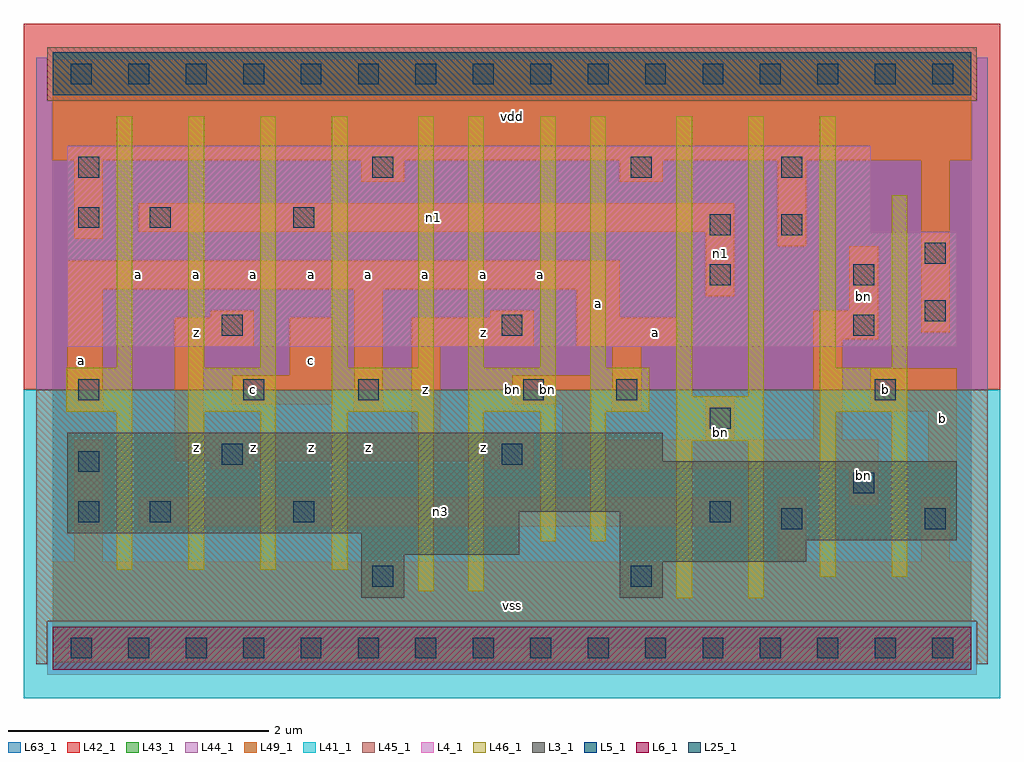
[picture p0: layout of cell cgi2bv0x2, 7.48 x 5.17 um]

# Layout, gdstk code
import gdstk
lib = gdstk.Library(unit=1e-6, precision=1e-09)
def R(c, l, rs):  # rectangles x0, y0, x1, y1
    for r in rs: c.add(gdstk.rectangle(r[:2], r[2:], *l))
def A(c, l, x, y, w, h, nx, ny, dx, dy):  # array of equal rectangles
    R(c, l, [(x+i*dx, y+j*dy, x+i*dx+w, y+j*dy+h) for i in range(nx) for j in range(ny)])
L3_1 = (3, 1)
L4_1 = (4, 1)
L5_1 = (5, 1)
L6_1 = (6, 1)
L25_1 = (25, 1)
L41_1 = (41, 1)
L42_1 = (42, 1)
L43_1 = (43, 1)
L44_1 = (44, 1)
L45_1 = (45, 1)
L46_1 = (46, 1)
L49_1 = (49, 1)
L63_1 = (63, 1)

cgi2bv0x2 = lib.new_cell('cgi2bv0x2')
R(cgi2bv0x2, L3_1, [(2.365,0.385,2.695,0.715), (4.345,0.385,4.675,0.66), (4.345,0.66,5.775,0.825), (2.365,0.715,3.575,0.88), (4.345,0.825,6.93,1.045), (0.11,0.88,3.575,1.045), (0.11,1.045,6.93,1.43), (0.11,1.43,4.675,1.65)])
R(cgi2bv0x2, L4_1, [(0.11,2.31,6.93,3.19), (0.11,3.19,6.27,3.85)])
R(cgi2bv0x2, L5_1, [(0,4.235,7.04,4.565)])
R(cgi2bv0x2, L6_1, [(0,-0.165,7.04,0.165)])
A(cgi2bv0x2, L25_1, 0.14, -0.08, 0.16, 0.16, 16, 2, 0.44, 4.4)
R(cgi2bv0x2, L25_1, [(2.45,0.47,2.61,0.63), (4.43,0.47,4.59,0.63), (5.585,0.91,5.745,1.07), (6.685,0.91,6.845,1.07), (0.195,0.965,0.355,1.125), (0.745,0.965,0.905,1.125), (1.845,0.965,2.005,1.125), (5.035,0.965,5.195,1.125), (6.135,1.185,6.295,1.345), (0.195,1.35,0.355,1.51), (1.295,1.405,1.455,1.565), (3.44,1.405,3.6,1.565), (5.035,1.68,5.195,1.84), (0.195,1.9,0.355,2.06), (1.46,1.9,1.62,2.06), (2.34,1.9,2.5,2.06), (3.605,1.9,3.765,2.06), (4.32,1.9,4.48,2.06), (6.3,1.9,6.46,2.06), (1.295,2.395,1.455,2.555), (3.44,2.395,3.6,2.555), (6.135,2.395,6.295,2.555), (6.685,2.505,6.845,2.665), (5.035,2.78,5.195,2.94), (6.135,2.78,6.295,2.94), (6.685,2.945,6.845,3.105), (5.035,3.165,5.195,3.325), (5.585,3.165,5.745,3.325), (0.195,3.22,0.355,3.38), (0.745,3.22,0.905,3.38), (1.845,3.22,2.005,3.38), (0.195,3.605,0.355,3.765), (2.45,3.605,2.61,3.765), (4.43,3.605,4.59,3.765), (5.585,3.605,5.745,3.765)])
R(cgi2bv0x2, L41_1, [(-0.22,-0.385,7.26,1.98)])
R(cgi2bv0x2, L42_1, [(-0.22,1.98,7.26,4.785)])
R(cgi2bv0x2, L43_1, [(0,-0.165,7.04,0.165), (2.365,0.385,2.695,0.715), (4.345,0.385,4.675,0.66), (4.345,0.66,5.775,0.825), (2.365,0.715,3.575,0.88), (4.345,0.825,6.93,1.045), (0.11,0.88,3.575,1.045), (0.11,1.045,6.93,1.43), (0.11,1.43,4.675,1.65), (0.11,2.31,6.93,3.19), (0.11,3.19,6.27,3.85), (0,4.235,7.04,4.565)])
R(cgi2bv0x2, L44_1, [(-0.04,-0.205,7.08,0.205), (-0.125,1.98,7.165,4.195), (-0.125,4.195,-0.04,4.525), (7.08,4.195,7.165,4.525)])
R(cgi2bv0x2, L45_1, [(-0.125,-0.125,-0.04,0.205), (7.08,-0.125,7.165,0.205), (-0.125,0.205,7.165,1.98), (-0.04,4.195,7.08,4.605)])
A(cgi2bv0x2, L46_1, 0.49, 0.6, 0.12, 1.21, 4, 1, 0.55, 0)
A(cgi2bv0x2, L46_1, 0.49, 2.15, 0.12, 1.925, 4, 1, 0.55, 0)
R(cgi2bv0x2, L46_1, [(4.78,0.38,4.9,1.59), (5.33,0.38,5.45,1.59), (2.8,0.435,2.92,1.81), (3.185,0.435,3.305,1.81), (5.88,0.545,6,1.81), (6.43,0.545,6.55,1.81), (3.735,0.82,3.855,1.81), (4.12,0.82,4.24,1.81), (4.78,1.59,5.45,1.93), (0.105,1.81,0.61,2.15), (1.04,1.81,1.71,2.15), (2.14,1.81,2.92,2.15), (3.185,1.81,3.855,2.15), (4.12,1.81,4.57,2.15), (5.88,1.81,6.55,2.15), (4.78,1.93,4.9,4.075), (5.33,1.93,5.45,4.075), (2.8,2.15,2.92,4.075), (3.185,2.15,3.305,4.075), (3.735,2.15,3.855,4.075), (4.12,2.15,4.24,4.075), (5.88,2.15,6,4.075), (6.43,2.15,6.55,3.47)])
R(cgi2bv0x2, L49_1, [(0,-0.11,7.04,0.66), (0.165,0.66,0.385,1.595), (5.555,0.66,5.775,1.155), (6.655,0.66,6.875,1.155), (0.66,0.935,5.28,1.155), (6.105,1.1,6.325,1.375), (1.21,1.375,1.54,1.43), (3.355,1.375,3.685,1.43), (3.905,1.375,6.325,1.595), (6.71,1.375,6.93,1.815), (0.935,1.43,3.685,1.65), (3.905,1.595,4.125,1.87), (5.005,1.595,5.225,1.925), (5.83,1.595,6.05,2.365), (0.935,1.65,1.155,2.31), (2.75,1.65,2.97,2.31), (0.11,1.815,0.385,2.75), (2.31,1.815,2.53,2.75), (4.29,1.815,4.51,2.31), (6.27,1.815,6.93,2.145), (1.375,1.87,2.145,2.09), (3.52,1.87,4.125,2.09), (1.815,2.09,2.145,2.53), (0.935,2.31,1.54,2.53), (2.75,2.31,3.685,2.53), (4.015,2.31,4.785,2.53), (5.83,2.365,6.325,2.585), (6.655,2.42,6.875,3.74), (1.21,2.53,1.54,2.585), (3.355,2.53,3.685,2.585), (4.015,2.53,4.345,2.75), (6.105,2.585,6.325,3.08), (5.005,2.695,5.225,3.19), (0.11,2.75,4.345,2.97), (5.555,3.08,5.775,3.74), (0.165,3.135,0.385,3.74), (0.66,3.19,5.225,3.41), (2.365,3.575,2.695,3.74), (4.345,3.575,4.675,3.74), (0,3.74,7.04,4.51)])
R(cgi2bv0x2, L63_1, [(0,0,7.04,4.4)])
cgi2bv0x2.add(gdstk.Label('bn', (3.52,1.98), layer=46, texttype=1))
cgi2bv0x2.add(gdstk.Label('z', (1.1,1.54), layer=49, texttype=1))
cgi2bv0x2.add(gdstk.Label('z', (1.1,2.42), layer=49, texttype=1))
cgi2bv0x2.add(gdstk.Label('a', (0.22,2.2), layer=49, texttype=1))
cgi2bv0x2.add(gdstk.Label('a', (0.66,2.86), layer=49, texttype=1))
cgi2bv0x2.add(gdstk.Label('a', (1.1,2.86), layer=49, texttype=1))
cgi2bv0x2.add(gdstk.Label('z', (1.54,1.54), layer=49, texttype=1))
cgi2bv0x2.add(gdstk.Label('z', (1.98,1.54), layer=49, texttype=1))
cgi2bv0x2.add(gdstk.Label('z', (2.42,1.54), layer=49, texttype=1))
cgi2bv0x2.add(gdstk.Label('c', (1.54,1.98), layer=49, texttype=1))
cgi2bv0x2.add(gdstk.Label('c', (1.98,2.2), layer=49, texttype=1))
cgi2bv0x2.add(gdstk.Label('a', (1.54,2.86), layer=49, texttype=1))
cgi2bv0x2.add(gdstk.Label('a', (1.98,2.86), layer=49, texttype=1))
cgi2bv0x2.add(gdstk.Label('a', (2.42,2.86), layer=49, texttype=1))
cgi2bv0x2.add(gdstk.Label('vss', (3.52,0.33), layer=49, texttype=1))
cgi2bv0x2.add(gdstk.Label('z', (3.3,1.54), layer=49, texttype=1))
cgi2bv0x2.add(gdstk.Label('z', (2.86,1.98), layer=49, texttype=1))
cgi2bv0x2.add(gdstk.Label('bn', (3.795,1.98), layer=49, texttype=1))
cgi2bv0x2.add(gdstk.Label('z', (3.3,2.42), layer=49, texttype=1))
cgi2bv0x2.add(gdstk.Label('a', (3.3,2.86), layer=49, texttype=1))
cgi2bv0x2.add(gdstk.Label('a', (3.74,2.86), layer=49, texttype=1))
cgi2bv0x2.add(gdstk.Label('a', (2.86,2.86), layer=49, texttype=1))
cgi2bv0x2.add(gdstk.Label('vdd', (3.52,4.07), layer=49, texttype=1))
cgi2bv0x2.add(gdstk.Label('n3', (2.97,1.045), layer=49, texttype=1))
cgi2bv0x2.add(gdstk.Label('bn', (5.115,1.65), layer=49, texttype=1))
cgi2bv0x2.add(gdstk.Label('a', (4.62,2.42), layer=49, texttype=1))
cgi2bv0x2.add(gdstk.Label('n1', (5.115,3.025), layer=49, texttype=1))
cgi2bv0x2.add(gdstk.Label('a', (4.18,2.64), layer=49, texttype=1))
cgi2bv0x2.add(gdstk.Label('n1', (2.915,3.3), layer=49, texttype=1))
cgi2bv0x2.add(gdstk.Label('bn', (6.215,1.32), layer=49, texttype=1))
cgi2bv0x2.add(gdstk.Label('b', (6.82,1.76), layer=49, texttype=1))
cgi2bv0x2.add(gdstk.Label('b', (6.38,1.98), layer=49, texttype=1))
cgi2bv0x2.add(gdstk.Label('bn', (6.215,2.695), layer=49, texttype=1))

lib.write_gds('cgi2bv0x2.gds')
